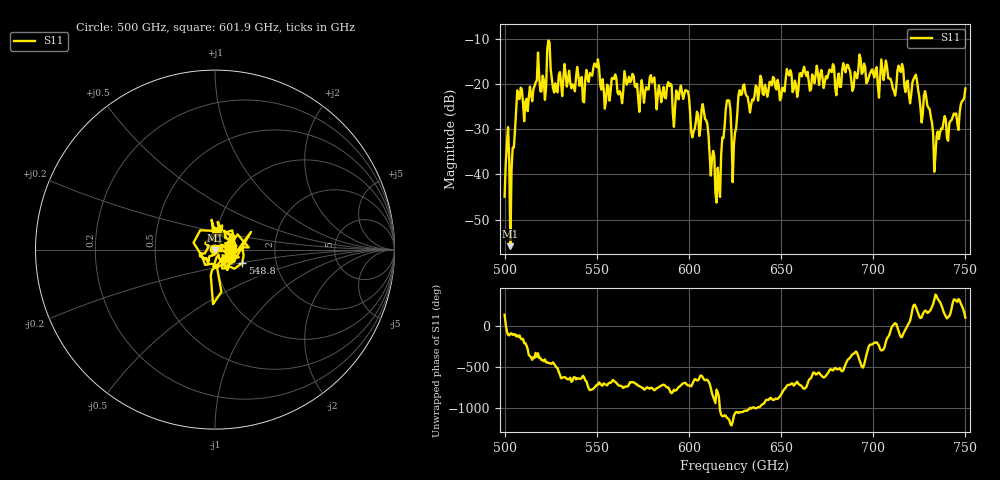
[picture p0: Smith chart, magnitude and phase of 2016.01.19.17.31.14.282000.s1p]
!Created with skrf (http://scikit-rf.org).
# GHz S RI R 50.0
!freq ReS11 ImS11
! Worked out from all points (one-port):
!   401 points, 500 GHz to 750 GHz, reference 50 ohm
!   lowest |S11| = -55.9 dB at 503.1 GHz (marker M1), VSWR 1.00, Z = 50 - j0.159 ohm
!   |S11| at or under -10 dB: start of sweep to end of sweep
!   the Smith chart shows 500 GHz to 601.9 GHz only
!   S11 on the Smith chart (normalised r, x): 500 GHz: 0.99, +0.01; 548.8 GHz: 1.34, -0.21; 601.9 GHz: 1.05, +0.01
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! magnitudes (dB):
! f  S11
! 500 GHz  -44.9
! 503.1 GHz  -55.9
! 504.4 GHz  -34.1
! 505.6 GHz  -30.4
! 508.1 GHz  -23.3
! 521.2 GHz  -19.0
! 524.4 GHz  -10.8
! 527.5 GHz  -19.9
! 531.2 GHz  -22.7
! 548.8 GHz  -15.5
! 562.5 GHz  -21.6
! 568.8 GHz  -19.1
! 593.8 GHz  -22.2
! 598.8 GHz  -21.5
! 601.9 GHz  -31.8
! 608.1 GHz  -26.1
! 615.6 GHz  -38.5
! 621.2 GHz  -23.6
! 625 GHz  -30.8
! 628.8 GHz  -22.2
! 656.2 GHz  -21.8
! 687.5 GHz  -17.2
! 711.2 GHz  -21.6
! 715 GHz  -17.3
! 718.8 GHz  -19.2
! 728.8 GHz  -22.9
! 734.4 GHz  -31.6
! 750 GHz  -21.0
